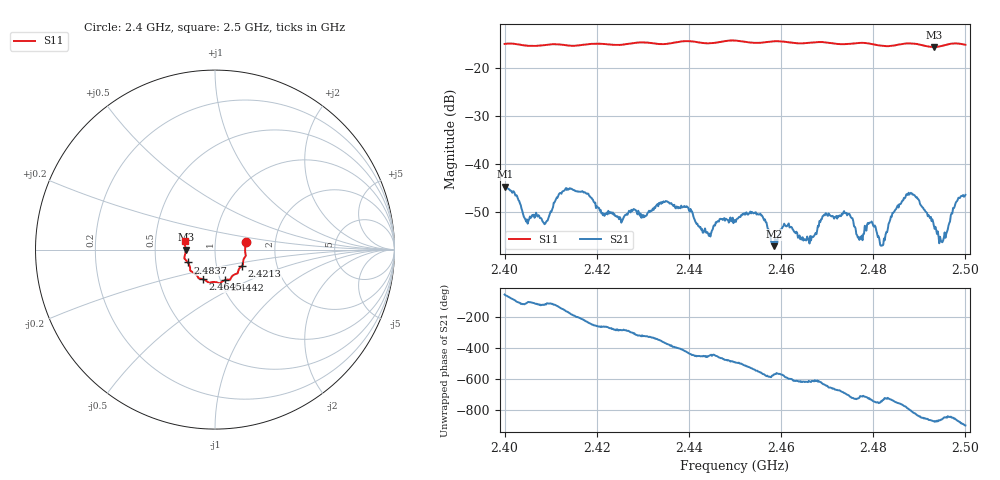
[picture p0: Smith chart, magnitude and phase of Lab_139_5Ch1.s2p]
# Hz S RI R 50
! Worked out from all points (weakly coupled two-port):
!   601 points, 2.4 GHz to 2.5 GHz, reference 50 ohm
!   highest |S21| = -44.78 dB at 2.4002 GHz (marker M1); lowest = -57.2 dB at 2.4585 GHz (marker M2)
!   lowest |S11| = -15.7 dB at 2.4932 GHz (marker M3), VSWR 1.39, Z = 35.9 - j0.0534 ohm
!   |S11| at or under -10 dB: start of sweep to end of sweep
!   S12 and S22 are empty: the file has one direction only
!   S11 on the Smith chart (normalised r, x): 2.4 GHz: 1.41, +0.12; 2.4213 GHz: 1.33, -0.25; 2.4442 GHz: 1.05, -0.37; 2.4645 GHz: 0.83, -0.29; 2.4837 GHz: 0.73, -0.11; 2.5 GHz: 0.71, +0.07
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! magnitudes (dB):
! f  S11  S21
! 2.4 GHz  -15.1  -44.9
! 2.4002 GHz  -15.1  -44.8
! 2.4087 GHz  -15.3  -52.6
! 2.4123 GHz  -15.2  -46.3
! 2.4167 GHz  -15.3  -45.9
! 2.4213 GHz  -15.1  -50.7
! 2.4333 GHz  -15.1  -48.9
! 2.4442 GHz  -15.0  -54.6
! 2.45 GHz  -14.4  -51.8
! 2.4555 GHz  -14.8  -50.4
! 2.4585 GHz  -14.5  -57.2
! 2.4612 GHz  -14.7  -53.1
! 2.4645 GHz  -15.0  -55.8
! 2.4667 GHz  -14.8  -55.1
! 2.4698 GHz  -14.8  -50.4
! 2.482 GHz  -15.5  -57.1
! 2.4833 GHz  -15.5  -52.5
! 2.4837 GHz  -15.5  -51.7
! 2.4882 GHz  -15.0  -46.1
! 2.4932 GHz  -15.7  -52.9
! 2.4952 GHz  -15.4  -56.0
! 2.5 GHz  -15.3  -46.5
